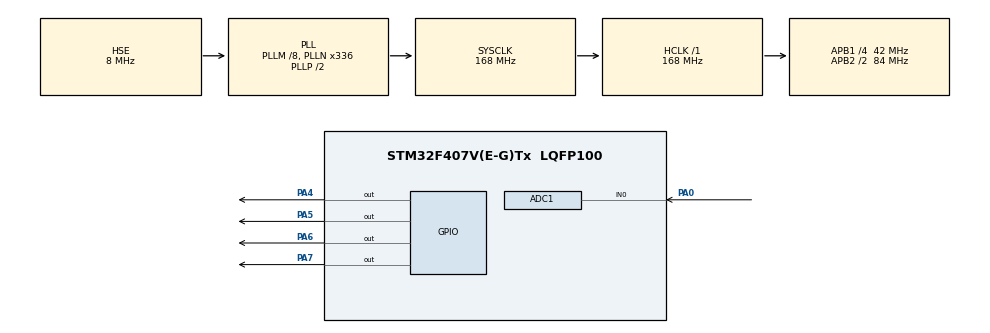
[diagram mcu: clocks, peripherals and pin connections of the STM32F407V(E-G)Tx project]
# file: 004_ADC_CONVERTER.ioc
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ADC1.Channel-0\#ChannelRegularConversion=ADC_CHANNEL_0
ADC1.ContinuousConvMode=ENABLE
ADC1.NbrOfConversionFlag=1
ADC1.Rank-0\#ChannelRegularConversion=1
ADC1.SamplingTime-0\#ChannelRegularConversion=ADC_SAMPLETIME_3CYCLES
ADC1.master=1
Mcu.Family=STM32F4
Mcu.Name=STM32F407V(E-G)Tx
Mcu.Package=LQFP100
NVIC.PriorityGroup=NVIC_PRIORITYGROUP_0
PA0-WKUP.Signal=ADCx_IN0
PA4.Signal=GPIO_Output
PA5.Signal=GPIO_Output
PA6.Signal=GPIO_Output
PA7.Signal=GPIO_Output
PH0-OSC_IN.Mode=HSE-External-Oscillator
PH0-OSC_IN.Signal=RCC_OSC_IN
PH1-OSC_OUT.Mode=HSE-External-Oscillator
PH1-OSC_OUT.Signal=RCC_OSC_OUT
ProjectManager.HeapSize=0x200
ProjectManager.StackSize=0x400
ProjectManager.TargetToolchain=STM32CubeIDE
RCC.48MHZClocksFreq_Value=48000000
RCC.AHBFreq_Value=168000000
RCC.APB1CLKDivider=RCC_HCLK_DIV4
RCC.APB1Freq_Value=42000000
RCC.APB1TimFreq_Value=84000000
RCC.APB2CLKDivider=RCC_HCLK_DIV2
RCC.APB2Freq_Value=84000000
RCC.APB2TimFreq_Value=168000000
RCC.CortexFreq_Value=168000000
RCC.HCLKFreq_Value=168000000
RCC.HSE_VALUE=8000000
RCC.HSI_VALUE=16000000
RCC.LSE_VALUE=32768
RCC.PLLM=8
RCC.PLLN=336
RCC.PLLQ=7
RCC.PLLSourceVirtual=RCC_PLLSOURCE_HSE
RCC.SYSCLKFreq_VALUE=168000000
RCC.SYSCLKSource=RCC_SYSCLKSOURCE_PLLCLK
RCC.VCOOutputFreq_Value=336000000
SH.ADCx_IN0.0=ADC1_IN0,IN0
board=STM32F407G-DISC1

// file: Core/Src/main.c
 /* USER CODE BEGIN Header */
/**
  ******************************************************************************
  * @file           : main.c
  * @brief          : Main program body
  ******************************************************************************
  * @attention
  *
  * Copyright (c) 2023 STMicroelectronics.
  * All rights reserved.
  *
  * This software is licensed under terms that can be found in the LICENSE file
  * in the root directory of this software component.
  * If no LICENSE file comes with this software, it is provided AS-IS.
  *
  ******************************************************************************
  */
/* USER CODE END Header */
#include "main.h"

/* USER CODE BEGIN Includes */
uint16_t adc_value;

/* USER CODE END Includes */

ADC_HandleTypeDef hadc1;

void SystemClock_Config(void);
static void MX_GPIO_Init(void);
static void MX_ADC1_Init(void);

int main(void)
{

  /* MCU Configuration--------------------------------------------------------*/

  /* Reset of all peripherals, Initializes the Flash interface and the Systick. */
  HAL_Init();

  /* Configure the system clock */
  SystemClock_Config();

  /* Initialize all configured peripherals */
  MX_GPIO_Init();
  MX_ADC1_Init();

  /* Infinite loop */
  while (1)
  {

    /* USER CODE BEGIN 3 */
		HAL_ADC_Start(&hadc1);

		if(HAL_ADC_PollForConversion(&hadc1, 1000000) == HAL_OK)
		{
			adc_value = HAL_ADC_GetValue(&hadc1);
			if(adc_value >= 500 && adc_value <=1000 )
			{
				HAL_GPIO_TogglePin(GPIOA, GPIO_PIN_4);

			}
			else if(adc_value >= 1000 && adc_value <=2000)
			{
				HAL_GPIO_TogglePin(GPIOA, GPIO_PIN_4);

				HAL_GPIO_TogglePin(GPIOA, GPIO_PIN_5);

			}

			else if(adc_value >= 2000 && adc_value <=3000)
			{
				HAL_GPIO_TogglePin(GPIOA, GPIO_PIN_4);

				HAL_GPIO_TogglePin(GPIOA, GPIO_PIN_5);

				HAL_GPIO_TogglePin(GPIOA, GPIO_PIN_6);

			}
			else if(adc_value >= 3000 && adc_value <=4096)
			{
				HAL_GPIO_TogglePin(GPIOA, GPIO_PIN_4);

				HAL_GPIO_TogglePin(GPIOA, GPIO_PIN_5);

				HAL_GPIO_TogglePin(GPIOA, GPIO_PIN_6);

				HAL_GPIO_TogglePin(GPIOA, GPIO_PIN_7);

			}

		}

		HAL_ADC_Stop(&hadc1);
  }
  /* USER CODE END 3 */
}

void SystemClock_Config(void)
{
  RCC_OscInitTypeDef RCC_OscInitStruct = {0};
  RCC_ClkInitTypeDef RCC_ClkInitStruct = {0};

  /** Configure the main internal regulator output voltage
  */
  __HAL_RCC_PWR_CLK_ENABLE();
  __HAL_PWR_VOLTAGESCALING_CONFIG(PWR_REGULATOR_VOLTAGE_SCALE1);

  /** Initializes the RCC Oscillators according to the specified parameters
  * in the RCC_OscInitTypeDef structure.
  */
  RCC_OscInitStruct.OscillatorType = RCC_OSCILLATORTYPE_HSE;
  RCC_OscInitStruct.HSEState = RCC_HSE_ON;
  RCC_OscInitStruct.PLL.PLLState = RCC_PLL_ON;
  RCC_OscInitStruct.PLL.PLLSource = RCC_PLLSOURCE_HSE;
  RCC_OscInitStruct.PLL.PLLM = 8;
  RCC_OscInitStruct.PLL.PLLN = 336;
  RCC_OscInitStruct.PLL.PLLP = RCC_PLLP_DIV2;
  RCC_OscInitStruct.PLL.PLLQ = 7;
  if (HAL_RCC_OscConfig(&RCC_OscInitStruct) != HAL_OK)
  {
    Error_Handler();
  }

  /** Initializes the CPU, AHB and APB buses clocks
  */
  RCC_ClkInitStruct.ClockType = RCC_CLOCKTYPE_HCLK|RCC_CLOCKTYPE_SYSCLK
                              |RCC_CLOCKTYPE_PCLK1|RCC_CLOCKTYPE_PCLK2;
  RCC_ClkInitStruct.SYSCLKSource = RCC_SYSCLKSOURCE_PLLCLK;
  RCC_ClkInitStruct.AHBCLKDivider = RCC_SYSCLK_DIV1;
  RCC_ClkInitStruct.APB1CLKDivider = RCC_HCLK_DIV4;
  RCC_ClkInitStruct.APB2CLKDivider = RCC_HCLK_DIV2;

  if (HAL_RCC_ClockConfig(&RCC_ClkInitStruct, FLASH_LATENCY_5) != HAL_OK)
  {
    Error_Handler();
  }
}

static void MX_ADC1_Init(void)
{

  ADC_ChannelConfTypeDef sConfig = {0};

  /** Configure the global features of the ADC (Clock, Resolution, Data Alignment and number of conversion)
  */
  hadc1.Instance = ADC1;
  hadc1.Init.ClockPrescaler = ADC_CLOCK_SYNC_PCLK_DIV4;
  hadc1.Init.Resolution = ADC_RESOLUTION_12B;
  hadc1.Init.ScanConvMode = DISABLE;
  hadc1.Init.ContinuousConvMode = ENABLE;
  hadc1.Init.DiscontinuousConvMode = DISABLE;
  hadc1.Init.ExternalTrigConvEdge = ADC_EXTERNALTRIGCONVEDGE_NONE;
  hadc1.Init.ExternalTrigConv = ADC_SOFTWARE_START;
  hadc1.Init.DataAlign = ADC_DATAALIGN_RIGHT;
  hadc1.Init.NbrOfConversion = 1;
  hadc1.Init.DMAContinuousRequests = DISABLE;
  hadc1.Init.EOCSelection = ADC_EOC_SINGLE_CONV;
  if (HAL_ADC_Init(&hadc1) != HAL_OK)
  {
    Error_Handler();
  }

  /** Configure for the selected ADC regular channel its corresponding rank in the sequencer and its sample time.
  */
  sConfig.Channel = ADC_CHANNEL_0;
  sConfig.Rank = 1;
  sConfig.SamplingTime = ADC_SAMPLETIME_3CYCLES;
  if (HAL_ADC_ConfigChannel(&hadc1, &sConfig) != HAL_OK)
  {
    Error_Handler();
  }

}

static void MX_GPIO_Init(void)
{
  GPIO_InitTypeDef GPIO_InitStruct = {0};

  /* GPIO Ports Clock Enable */
  __HAL_RCC_GPIOH_CLK_ENABLE();
  __HAL_RCC_GPIOA_CLK_ENABLE();

  /*Configure GPIO pin Output Level */
  HAL_GPIO_WritePin(GPIOA, GPIO_PIN_4|GPIO_PIN_5|GPIO_PIN_6|GPIO_PIN_7, GPIO_PIN_RESET);

  /*Configure GPIO pins : PA4 PA5 PA6 PA7 */
  GPIO_InitStruct.Pin = GPIO_PIN_4|GPIO_PIN_5|GPIO_PIN_6|GPIO_PIN_7;
  GPIO_InitStruct.Mode = GPIO_MODE_OUTPUT_PP;
  GPIO_InitStruct.Pull = GPIO_NOPULL;
  GPIO_InitStruct.Speed = GPIO_SPEED_FREQ_LOW;
  HAL_GPIO_Init(GPIOA, &GPIO_InitStruct);

}

void Error_Handler(void)
{
  __disable_irq();
  while (1)
  {
  }
}
